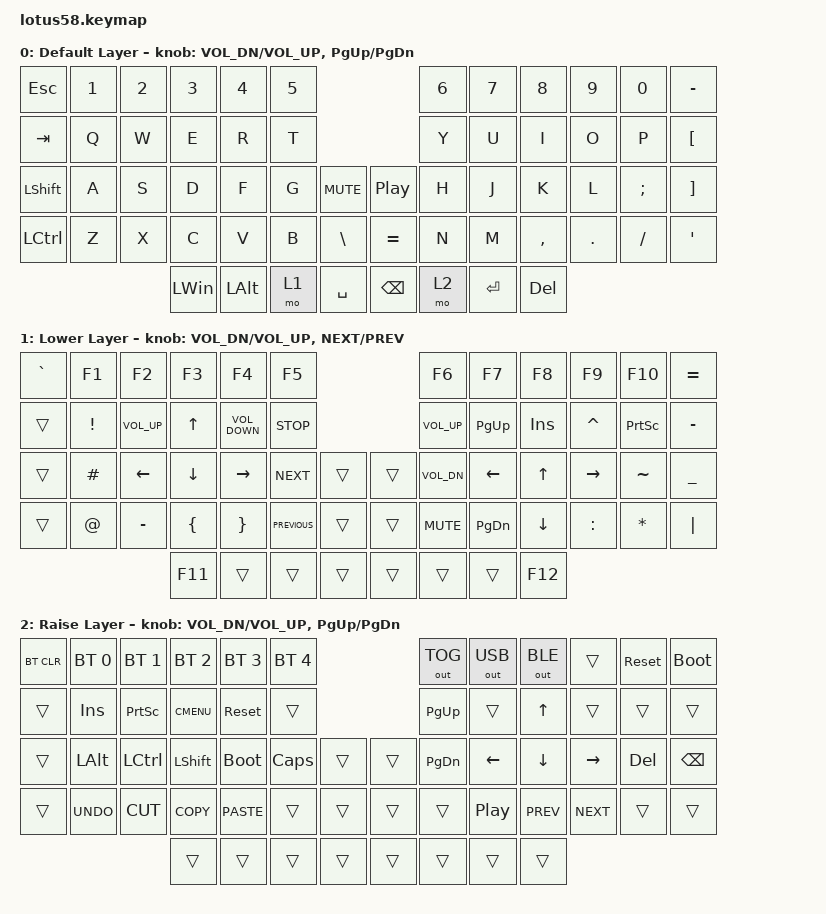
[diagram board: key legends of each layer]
/*
 * Copyright (c) 2022 The ZMK Contributors
 *
 * SPDX-License-Identifier: MIT
 */

#include <behaviors.dtsi>
#include <dt-bindings/zmk/bt.h>
#include <dt-bindings/zmk/keys.h>
#include <dt-bindings/zmk/outputs.h>

/ {
    combos {
        compatible = "zmk,combos";

        combo_dsklg {
            timeout-ms = <100>;
            key-positions = <24 52>;
            layers = <0>;
            bindings = <&kp LGUI>;
        };
    };

    behaviors {
        fofunc: four_ffour {
            compatible = "zmk,behavior-mod-morph";
            #binding-cells = <0>;
            bindings = <&kp N4>, <&kp F4>;

            mods = <(MOD_LALT|MOD_RALT)>;
        };

        sleft: s_left {
            compatible = "zmk,behavior-mod-morph";
            #binding-cells = <0>;
            bindings = <&kp S>, <&kp LEFT>;

            mods = <(MOD_LGUI|MOD_RGUI)>;
        };

        fright: f_right {
            compatible = "zmk,behavior-mod-morph";
            #binding-cells = <0>;
            bindings = <&kp F>, <&kp RIGHT>;

            mods = <(MOD_LGUI|MOD_RGUI)>;
        };
    };

    keymap {
        compatible = "zmk,keymap";

        default_layer {
            display-name = "Default Layer";

            //   ------------------------------------------------------------------------------------------------------------
            //  0|  ESC  |  1  |  2  |  3   |  4   |  5   |                     |  6   |  7    |  8    |  9   |   0   |   =   | 11
            // 12|  TAB  |  Q  |  W  |  E   |  R   |  T   |                     |  Y   |  U    |  I    |  O   |   P   |   [   | 23
            // 24|  SFT  |  A  |  S  |  D   |  F   |  G   |  RESET  |  | RESET  |  H   |  J    |  K    |  L   |   ;   | ' SFT | 37
            // 38|  CTRL |  Z  |  X  |  C   |  V   |  B   |  MUTE   |  | PLAY   |  N   |  M    |  ,    |  .   |   /   | \ CTRL| 51
            // 52                    |ENT RS|  ALT | SPACE|DELETE LW|  |ENTER RS| BSPC |  ] LW | RGUI  |                        59

            bindings = <
&kp ESC    &kp N1  &kp N2  &kp N3        &kp NUMBER_4  &kp N5                                &kp N6  &kp N7     &kp N8      &kp N9   &kp N0    &kp MINUS
&kp TAB    &kp Q   &kp W   &kp E         &kp R         &kp T                                 &kp Y   &kp U      &kp I       &kp O    &kp P     &kp LBKT
&kp LSHFT  &kp A   &kp S   &kp D         &kp F         &kp G   &kp C_MUTE     &kp C_PP       &kp H   &kp J      &kp K       &kp L    &kp SEMI  &kp RIGHT_BRACKET
&kp LCTRL  &kp Z   &kp X   &kp C         &kp V         &kp B   &kp BACKSLASH  &kp EQUAL      &kp N   &kp M      &kp COMMA   &kp DOT  &kp FSLH  &kp SQT
                           &kp LEFT_WIN  &kp LALT      &mo 1   &kp SPACE      &kp BACKSPACE  &mo 2   &kp ENTER  &kp DELETE
            >;

            sensor-bindings = <&inc_dec_kp C_VOL_DN C_VOL_UP &inc_dec_kp PG_UP PG_DN>;
        };

        lower_layer {
            display-name = "Lower Layer";

            // ------------------------------------------------------------------------------------------------------------
            // | `     |  F1 |  F2 |  F3  |  F4  |  F5  |                   |  F6  |  F7   |  F8   |  F9  |  F10  |  F11  |
            // |       |  !  | HOME|   ^  |  END |  %   |                   | VOL^ |  PGUP |  INS  |  ^   |  PSCR |   -   |
            // |       |  #  |  <- |   v  | ->   |  $   |        |  |       | VOLv |    <- |   ^   |  ->  |   ~   |   _   |
            // |       |  @  |  -  |  (   |  )   |  &   |        |  |       | MUTE |  PGDN |   v   |  :   |   *   |   |   |
            //                     |  F11 |      |      |        |  |       |      |       |  F12  |

            bindings = <
&kp GRAVE  &kp F1    &kp F2           &kp F3    &kp F4             &kp F5                          &kp F6        &kp F7     &kp F8    &kp F9     &kp F10    &kp EQUAL
&trans     &kp EXCL  &kp C_VOLUME_UP  &kp UP    &kp K_VOLUME_DOWN  &kp K_STOP                      &kp C_VOL_UP  &kp PG_UP  &kp INS   &kp CARET  &kp PSCRN  &kp MINUS
&trans     &kp HASH  &kp LEFT         &kp DOWN  &kp RIGHT          &kp C_NEXT      &trans  &trans  &kp C_VOL_DN  &kp LEFT   &kp UP    &kp RIGHT  &kp TILDE  &kp UNDER
&trans     &kp AT    &kp MINUS        &kp LBRC  &kp RBRC           &kp C_PREVIOUS  &trans  &trans  &kp C_MUTE    &kp PG_DN  &kp DOWN  &kp COLON  &kp STAR   &kp PIPE
                                      &kp F11   &trans             &trans          &trans  &trans  &trans        &trans     &kp F12
            >;

            sensor-bindings = <&inc_dec_kp C_VOL_DN C_VOL_UP &inc_dec_kp C_NEXT C_PREV>;
        };

        raise_layer {
            display-name = "Raise Layer";

            // ------------------------------------------------------------------------------------------------------------
            // |BTCLR| BT1  | BT2  |  BT3  |  BT4  |  BT5 |                |OUTTOG|OUTUSB| OUTBT |      | RESET | FLASH |
            // |     | INS  | PSCR | GUI   | RESET |      |                | PGUP |      |   ^   |      |       |       |
            // |     | ALT  | CTRL | SHIFT | FLASH | CAPS |      |  |      | PGDN |   <- |   v   |  ->  |  DEL  | BSPC  |
            // |     | UNDO | CUT  | COPY  | PASTE |      |      |  |      |      |  |>  |  <|<| | |>|> |       |       |
            //                     |       |       |      |      |  |      |      |      |       |

            bindings = <
&bt BT_CLR  &bt BT_SEL 0  &bt BT_SEL 1  &bt BT_SEL 2  &bt BT_SEL 3  &bt BT_SEL 4                  &out OUT_TOG  &out OUT_USB  &out OUT_BLE  &trans      &sys_reset  &bootloader
&trans      &kp INS       &kp PSCRN     &kp K_CMENU   &sys_reset    &trans                        &kp PG_UP     &trans        &kp UP        &trans      &trans      &trans
&trans      &kp LALT      &kp LCTRL     &kp LSHFT     &bootloader   &kp CLCK      &trans  &trans  &kp PG_DN     &kp LEFT      &kp DOWN      &kp RIGHT   &kp DEL     &kp BSPC
&trans      &kp K_UNDO    &kp K_CUT     &kp K_COPY    &kp K_PASTE   &trans        &trans  &trans  &trans        &kp C_PP      &kp C_PREV    &kp C_NEXT  &trans      &trans
                                        &trans        &trans        &trans        &trans  &trans  &trans        &trans        &trans
            >;

            sensor-bindings = <&inc_dec_kp C_VOL_DN C_VOL_UP &inc_dec_kp PG_UP PG_DN>;
        };
    };
};
